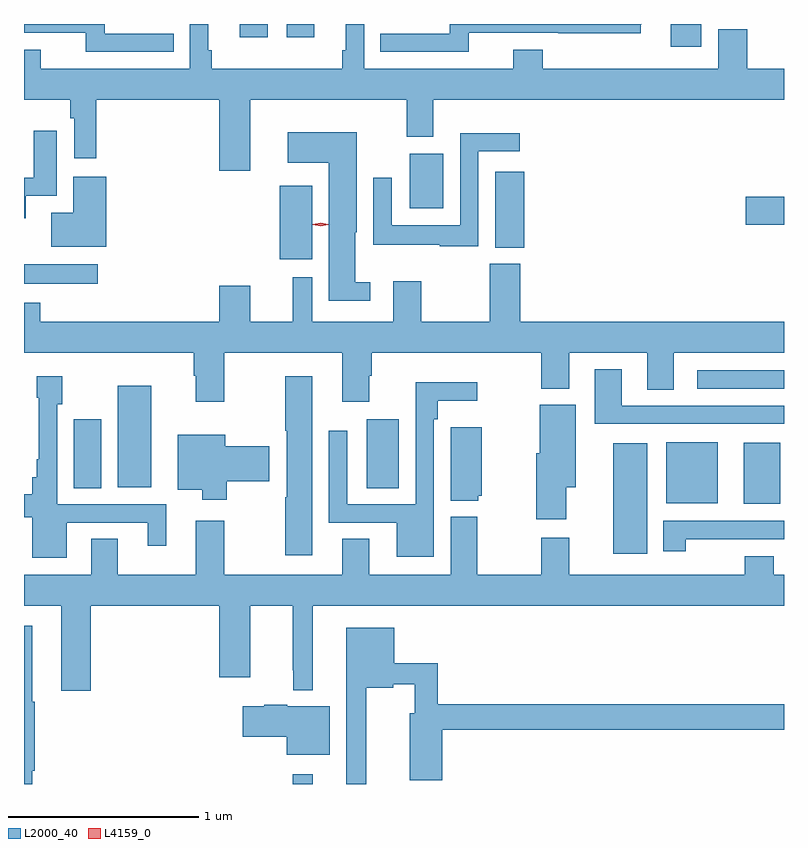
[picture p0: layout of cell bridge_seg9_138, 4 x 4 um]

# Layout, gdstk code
import gdstk
lib = gdstk.Library(unit=1e-6, precision=1e-09)
def R(c, l, rs):  # rectangles x0, y0, x1, y1
    for r in rs: c.add(gdstk.rectangle(r[:2], r[2:], *l))
def P(c, l, *ps):  # polygons
    for p in ps: c.add(gdstk.Polygon(p, *l))
L2000_40 = (2000, 40)
L4159_0 = (4159, 0)

bridge_seg9_138 = lib.new_cell('bridge_seg9_138')
R(bridge_seg9_138, L2000_40, [(441.119,1166.179,441.223,1166.23), (442.805,1167.392,442.984,1167.973), (443.492,1167.653,443.683,1167.976), (443.084,1167.656,443.356,1167.979), (439.967,1167.736,440.11,1168.099), (441.509,1167.736,441.676,1168.099), (440.198,1167.74,440.374,1168.276), (443.247,1168.26,443.704,1168.356), (439.704,1168.811,440.092,1168.915), (441.05,1168.941,441.22,1169.329), (442.184,1169.002,442.337,1169.401), (443.502,1169.123,443.704,1169.27), (441.734,1169.21,441.91,1169.497), (443.107,1170.06,443.268,1170.179), (440.84,1170.108,440.986,1170.179), (441.086,1170.108,441.232,1170.179)])
P(bridge_seg9_138, L2000_40, [(440.492,1170.129),(440.128,1170.129),(440.128,1170.179),(439.704,1170.179),(439.704,1170.132),(440.029,1170.132),(440.029,1170.033),(440.492,1170.033)],
  [(442.044,1170.132),(442.516,1170.132),(442.516,1170.131),(442.95,1170.131),(442.95,1170.175),(442.954,1170.179),(441.944,1170.179),(441.944,1170.129),(441.58,1170.129),(441.58,1170.033),(442.044,1170.033)],
  [(440.896,1169.78),(441.719,1169.78),(441.719,1169.586),(441.859,1169.586),(441.859,1169.78),(443.704,1169.78),(443.704,1169.944),(443.51,1169.944),(443.51,1170.152),(443.357,1170.152),(443.357,1169.944),(442.433,1169.944),(442.433,1170.043),(442.28,1170.043),(442.28,1169.944),(441.495,1169.944),(441.495,1170.179),(441.398,1170.179),(441.398,1170.04),(441.379,1170.04),(441.379,1169.944),(440.693,1169.944),(440.693,1170.04),(440.674,1170.04),(440.674,1170.179),(440.577,1170.179),(440.577,1169.944),(439.792,1169.944),(439.792,1170.043),(439.704,1170.043),(439.704,1169.78),(439.948,1169.78),(439.948,1169.684),(439.968,1169.684),(439.968,1169.472),(440.084,1169.472),(440.084,1169.78),(440.732,1169.78),(440.732,1169.406),(440.896,1169.406)],
  [(439.714,1169.274),(439.876,1169.274),(439.876,1169.617),(439.754,1169.617),(439.754,1169.37),(439.704,1169.37),(439.704,1169.157),(439.714,1169.157)],
  [(441.526,1168.82),(441.448,1168.82),(441.448,1169.082),(441.454,1169.082),(441.454,1169.608),(441.093,1169.608),(441.093,1169.45),(441.308,1169.45),(441.308,1168.722),(441.526,1168.722)],
  [(442.095,1169.508),(442.312,1169.508),(442.312,1169.605),(441.999,1169.605),(441.999,1169.119),(441.639,1169.119),(441.639,1169.371),(441.543,1169.371),(441.543,1169.018),(441.892,1169.018),(441.892,1169.008),(442.095,1169.008)],
  [(440.137,1169.374),(439.964,1169.374),(439.964,1169.185),(439.847,1169.185),(439.847,1169.006),(440.137,1169.006)],
  [(440.757,1168.448),(441.38,1168.448),(441.38,1168.191),(441.52,1168.191),(441.52,1168.328),(441.533,1168.328),(441.533,1168.448),(442.426,1168.448),(442.426,1168.259),(442.573,1168.259),(442.573,1168.448),(442.985,1168.448),(442.985,1168.255),(443.125,1168.255),(443.125,1168.448),(443.704,1168.448),(443.704,1168.612),(442.316,1168.612),(442.316,1168.917),(442.156,1168.917),(442.156,1168.612),(441.795,1168.612),(441.795,1168.825),(441.647,1168.825),(441.647,1168.612),(441.22,1168.612),(441.22,1168.846),(441.119,1168.846),(441.119,1168.612),(440.896,1168.612),(440.896,1168.801),(440.732,1168.801),(440.732,1168.612),(439.789,1168.612),(439.789,1168.711),(439.704,1168.711),(439.704,1168.448),(440.597,1168.448),(440.597,1168.328),(440.609,1168.328),(440.609,1168.191),(440.757,1168.191)],
  [(443.704,1168.17),(442.849,1168.17),(442.849,1168.363),(442.709,1168.363),(442.709,1168.074),(443.704,1168.074)],
  [(441.22,1168.324),(441.079,1168.324),(441.079,1168.039),(441.086,1168.039),(441.086,1167.689),(441.079,1167.689),(441.079,1167.384),(441.22,1167.384)],
  [(439.93,1167.555),(440.354,1167.555),(440.354,1167.432),(440.452,1167.432),(440.452,1167.651),(439.878,1167.651),(439.878,1168.179),(439.905,1168.179),(439.905,1168.324),(439.77,1168.324),(439.77,1168.211),(439.782,1168.211),(439.782,1167.889),(439.77,1167.889),(439.77,1167.793),(439.748,1167.793),(439.748,1167.703),(439.704,1167.703),(439.704,1167.582),(439.748,1167.582),(439.748,1167.371),(439.93,1167.371)],
  [(441.861,1168.1),(441.881,1168.1),(441.881,1168.196),(442.09,1168.196),(442.09,1168.294),(441.765,1168.294),(441.765,1167.651),(441.405,1167.651),(441.405,1168.039),(441.309,1168.039),(441.309,1167.555),(441.665,1167.555),(441.665,1167.374),(441.861,1167.374)],
  [(442.558,1167.74),(442.609,1167.74),(442.609,1168.174),(442.418,1168.174),(442.418,1167.921),(442.4,1167.921),(442.4,1167.573),(442.558,1167.573)],
  [(442.095,1167.696),(442.114,1167.696),(442.114,1168.057),(441.95,1168.057),(441.95,1167.671),(442.095,1167.671)],
  [(440.772,1167.773),(440.995,1167.773),(440.995,1167.956),(440.764,1167.956),(440.764,1168.018),(440.513,1168.018),(440.513,1167.728),(440.642,1167.728),(440.642,1167.674),(440.772,1167.674)],
  [(440.054,1167.116),(440.732,1167.116),(440.732,1166.742),(440.896,1166.742),(440.896,1167.116),(441.119,1167.116),(441.119,1166.779),(441.12,1166.779),(441.12,1166.672),(441.223,1166.672),(441.223,1167.116),(443.704,1167.116),(443.704,1167.28),(443.65,1167.28),(443.65,1167.379),(443.498,1167.379),(443.498,1167.28),(442.573,1167.28),(442.573,1167.475),(442.426,1167.475),(442.426,1167.28),(442.089,1167.28),(442.089,1167.586),(441.95,1167.586),(441.95,1167.28),(441.52,1167.28),(441.52,1167.47),(441.38,1167.47),(441.38,1167.28),(440.757,1167.28),(440.757,1167.565),(440.609,1167.565),(440.609,1167.28),(440.197,1167.28),(440.197,1167.47),(440.057,1167.47),(440.057,1167.28),(439.704,1167.28),(439.704,1167.116),(439.901,1167.116),(439.901,1166.67),(440.054,1166.67)],
  [(443.187,1167.467),(443.414,1167.467),(443.414,1167.468),(443.704,1167.468),(443.704,1167.564),(443.069,1167.564),(443.069,1167.405),(443.187,1167.405)],
  [(439.747,1166.248),(439.76,1166.248),(439.76,1166.613),(439.747,1166.613),(439.747,1167.013),(439.704,1167.013),(439.704,1166.179),(439.747,1166.179)],
  [(441.505,1166.686),(441.648,1166.686),(441.648,1166.705),(441.76,1166.705),(441.76,1166.551),(441.734,1166.551),(441.734,1166.199),(441.905,1166.199),(441.905,1166.464),(443.704,1166.464),(443.704,1166.6),(441.881,1166.6),(441.881,1166.815),(441.652,1166.815),(441.652,1167.001),(441.401,1167.001),(441.401,1166.179),(441.505,1166.179)],
  [(441.313,1166.587),(441.09,1166.587),(441.09,1166.597),(440.968,1166.597),(440.968,1166.587),(440.856,1166.587),(440.856,1166.429),(441.086,1166.429),(441.086,1166.333),(441.313,1166.333)])
P(bridge_seg9_138, L4159_0, [(441.265,1169.114),(441.225,1169.123),(441.225,1169.124),(441.225,1169.124),(441.265,1169.134),(441.305,1169.124),(441.306,1169.124),(441.305,1169.123)])

lib.write_gds('bridge_seg9_138.gds')
